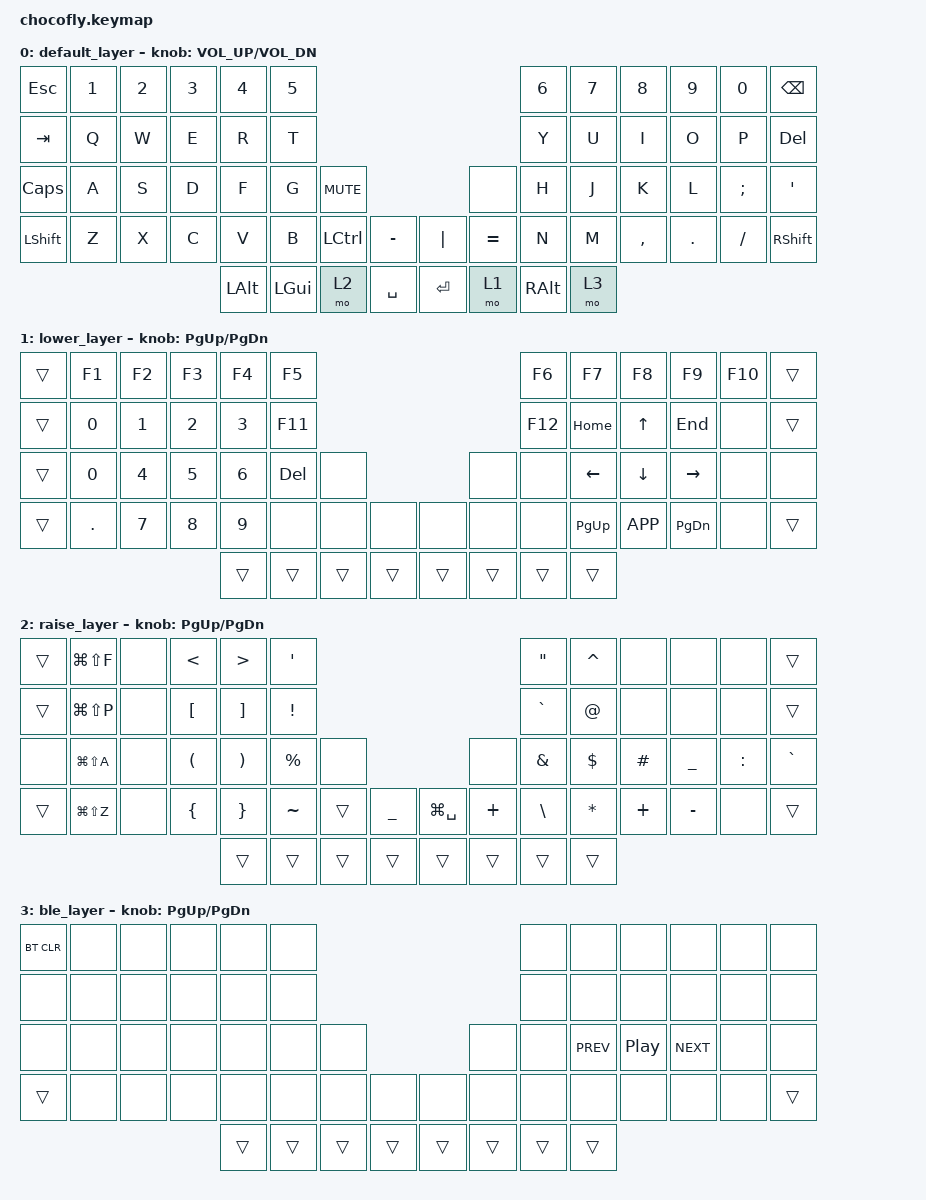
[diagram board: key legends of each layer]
#include <behaviors.dtsi>
#include <dt-bindings/zmk/keys.h>
#include <dt-bindings/zmk/bt.h>

&lt { quick_tap_ms = <200>; };
&mt { quick_tap_ms = <200>; };


//     template _layer {
//  // ------------------------------------------------------------------------------                                                    -------------------------------------------------------------------------------
//  // |............|            |            |            |            |            |                                                   |            |            |            |            |            |............|
//  // |............|            |            |            |            |            |-------------            |            -------------|            |            |            |            |            |............|
//  // |            |            |            |            |            |            |            |-------------------------|            |            |            |            |            |            |            |
//  // |............|            |            |            |            |            |            |            |            |            |            |            |            |            |            |............|
//  // ----------------------------------------------------|            |            |............|............|............|............|............|............|----------------------------------------------------
//  //                                                     ---------------------------------------------------------------------------------------------------------
//              bindings = <
//         &trans      &none        &none        &none        &none        &none                                                             &none        &none        &none         &none        &none        &trans
//         &trans      &none        &none        &none        &none        &none                                                             &none        &none        &none         &none        &none        &trans
//         &none       &none        &none        &none        &none        &none        &none                                  &none         &none        &none        &none         &none        &none        &none
//         &trans      &none        &none        &none        &none        &none        &none        &none        &none        &none         &none        &none        &none         &none        &none        &trans
//                                                            &trans       &trans       &trans       &trans       &trans       &trans        &trans       &trans
//              >;
//              sensor-bindings = <&inc_dec_kp PG_UP PG_DN>;
//          };



//#####################################################################################################################################################################################################################################



///////////////////////////////////////////////////////////////////////////////////////////////////////////////////////////////////////////////////////////////////////////////////////////////////////////////////////////////////////

/ {
 
    keymap {
        compatible = "zmk,keymap";
        sensors = <&sensors>;

        default_layer {
// -------------------------------------------------------------------------------                                                         -------------------------------------------------------------------------------
// |   ESC      |     1      |     2      |     3      |     4      |     5      |                                                         |     6      |     7      |     8      |     9      |     0      |  BACKSPACE |
// |   TAB      |     Q      |     W      |     E      |     R      |     T      |---------------            |            -----------------|     Y      |     U      |     I      |     O      |     P      |    DEL     |
// |   CAPS     |     A      |     S      |     D      |     F      |     G      |    VOL_M     |-------------------------|                |     H      |     J      |     K      |     L      |     ;      |     '      |
// |   SHIFT    |     Z      |     X      |     C      |     V      |     B      |    CTRL      |     -      |     |      |     =          |     N      |     M      |     ,      |     .      |     /      |   R SHIFT  |
// ----------------------------------------------------|    ALT     |    GUI     |    LAYER2    |   SPACE    |   ENTER    |    LAYER1      |    ALT     |   MO 3     |----------------------------------------------------
//                                                     ---------------------------------------------------------------------------------------------------------------
           bindings = <
    &kp ESC         &kp N1      &kp N2        &kp N3       &kp N4      &kp N5                                                                 &kp N6       &kp N7       &kp N8       &kp N9      &kp N0        &kp BSPC
    &kp TAB         &kp Q       &kp W         &kp E        &kp R       &kp T                                                                  &kp Y        &kp U        &kp I        &kp O       &kp P         &kp DEL
    &kp CAPS        &kp A       &kp S         &kp D        &kp F       &kp G       &kp K_MUTE                                  &none          &kp H        &kp J        &kp K        &kp L       &kp SEMI      &kp SQT
    &kp LSHFT       &kp Z       &kp X         &kp C        &kp V       &kp B       &kp LCTRL       &kp MINUS    &kp PIPE       &kp EQUAL      &kp N        &kp M        &kp COMMA    &kp DOT     &kp FSLH      &kp RSHFT
                                                           &kp LALT    &kp LGUI    &mo 2           &kp SPACE    &kp ENTER      &mo 1          &kp RALT     &mo 3
            >;
            sensor-bindings = <&inc_dec_kp C_VOL_UP C_VOL_DN>;
        };
///////////////////////////////////////////////////////////////////////////////////////////////////////////////////////////////////////////////////////////////////////////////////////////////////////////////////////////////////////

        lower_layer {
// -------------------------------------------------------------------------------                                                   -------------------------------------------------------------------------------
// |............|     F1     |     F2     |     F3     |     F4     |     F5     |                                                   |    F6      |     F7     |     F8     |     F9     |    F10     |............|
// |............|     0      |     1      |     2      |     3      |     F11    |-------------            |            -------------|    F12     |    HOME    |     UP     |     END    |            |............|
// |............|     0      |     4      |     5      |     6      |     DEL    |            |-------------------------|            |            |    LEFT    |    DOWN    |    RIGHT   |            |            |
// |............|     .      |     7      |     8      |     9      |            |            |            |            |            |            |    PG UP   |  APP MENU  |   PG DOWN  |            |............|
// ----------------------------------------------------|............|............|............|............|............|............|............|............|----------------------------------------------------
//                                                     ---------------------------------------------------------------------------------------------------------
            bindings = <
    &trans        &kp F1        &kp F2       &kp F3       &kp F4       &kp F5                                                            &kp F6       &kp F7       &kp F8       &kp F9       &kp F10     &trans
    &trans        &kp N0        &kp N1       &kp N2       &kp N3       &kp F11                                                           &kp F12      &kp HOME     &kp UP       &kp END      &none       &trans
    &trans        &kp N0        &kp N4       &kp N5       &kp N6       &kp DEL      &none                                   &none        &none        &kp LEFT     &kp DOWN     &kp RIGHT    &none       &none
    &trans        &kp DOT       &kp N7       &kp N8       &kp N9       &none        &none         &none        &none        &none        &none        &kp PG_UP    &kp K_APP    &kp PG_DN    &none       &trans
                                                          &trans       &trans       &trans        &trans       &trans       &trans       &trans       &trans
            >;
            sensor-bindings = <&inc_dec_kp PG_UP PG_DN>;
        };



///////////////////////////////////////////////////////////////////////////////////////////////////////////////////////////////////////////////////////////////////////////////////////////////////////////////////////////////////////

        raise_layer {
// ------------------------------------------------------------------------------------                                                     -------------------------------------------------------------------------------
// |..........|   SHIFT+CMD+F     |            |     <      |     >      |     '      |                                                     |     "      |     ^      |            |            |            |............|
// |..........|   SHIFT+CMD+P     |            |     [      |     ]      |     !      |-------------            |              -------------|     `      |     @      |            |            |            |............|
// |          |   SHIFT+CMD+A     |            |     (      |     )      |     %      |            |---------------------------|            |     &      |     $      |     #      |     _      |     :      |     `      |
// |..........|   SHIFT+CMD+Z     |            |     {      |     }      |     ~      |............|     _      |  CMD SPACE   |     +      |     \      |     *      |     +      |     -      |            |............|
// ---------------------------------------------------------|............|............|............|............| ............ |............|............|............|----------------------------------------------------
//                                                          ---------------------------------------------------------------------------------------------------------
            bindings = <
       &trans   &kp LG(LS(F))        &none        &kp LT       &kp GT       &kp SQT                                                            &kp DQT      &kp CARET   &none         &none        &none        &trans
       &trans   &kp LG(LS(P))        &none        &kp LBKT     &kp RBKT     &kp EXCL                                                           &kp GRAVE    &kp AT      &none         &none        &none        &trans
       &none    &kp LG(LS(A))        &none        &kp LPAR     &kp RPAR     &kp PRCNT    &none                                     &none       &kp AMPS     &kp DLLR    &kp HASH      &kp UNDER    &kp COLON    &kp GRAVE
       &trans   &kp LG(LS(Z))        &none        &kp LBRC     &kp RBRC     &kp TILDE    &trans       &kp UNDER   &kp LG(SPACE)    &kp PLUS    &kp BSLH     &kp ASTRK   &kp PLUS      &kp MINUS    &none        &trans
                                                               &trans       &trans       &trans       &trans      &trans           &trans      &trans       &trans
            >;
            sensor-bindings = <&inc_dec_kp PG_UP PG_DN>;
        };



///////////////////////////////////////////////////////////////////////////////////////////////////////////////////////////////////////////////////////////////////////////////////////////////////////////////////////////////////////

        ble_layer {
// ---------------------------------------------------------------------------                                       ------------------------------------------------------------------------
// | BT_CLR  |         |            |            |            |              |                                       |            |            |            |           |         |         |
// |         |         |            |            |            |              |----------         |         ----------|            |            |            |           |         |         |
// |         |         |            |            |            |              |         |-------------------|         |            | PREVIOUS   | PLAY/PAUSE | NEXT      |         |         |
// |.........|         |            |            |            |              |         |         |         |         |            |            |            |           |         |.........|
// ----------------------------------------------|............|..............|.........|.........|.........|.........|............|............|---------------------------------------------
//                                               --------------------------------------------------------------------------------------------
            bindings = <
    &bt BT_CLR &none     &none        &none        &none         &none                                                 &none        &none        &none        &none       &none     &none
    &none      &none     &none        &none        &none         &none                                                 &none        &none        &none        &none       &none     &none
    &none      &none     &none        &none        &none         &none         &none                         &none     &none        &kp C_PREV   &kp C_PP     &kp C_NEXT  &none     &none
    &trans     &none     &none        &none        &none         &none         &none      &none    &none     &none     &none        &none        &none        &none       &none     &trans
                                                   &trans        &trans        &trans     &trans   &trans    &trans    &trans       &trans
            >;
            sensor-bindings = <&inc_dec_kp PG_UP PG_DN>;
        };
    };
};
